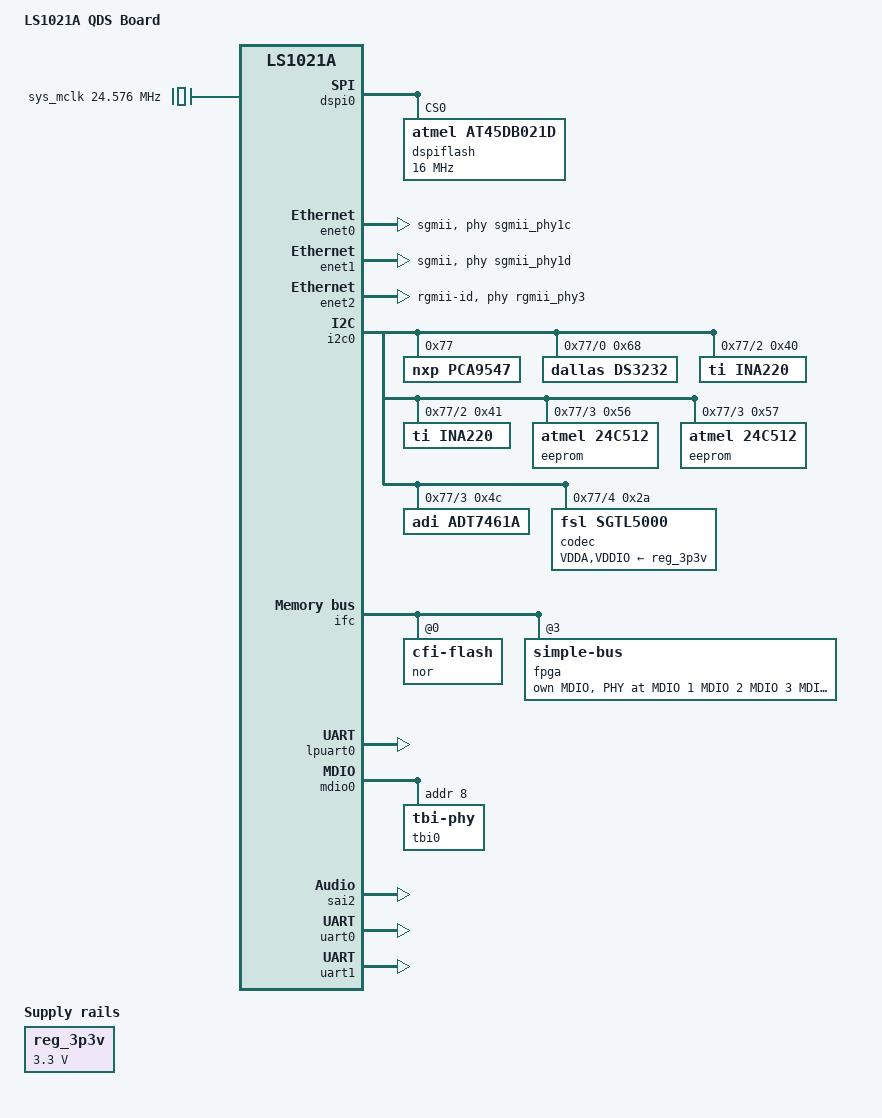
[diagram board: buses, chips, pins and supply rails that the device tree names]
/*
 * Copyright 2013-2014 Freescale Semiconductor, Inc.
 *
 * This file is dual-licensed: you can use it either under the terms
 * of the GPL or the X11 license, at your option. Note that this dual
 * licensing only applies to this file, and not this project as a
 * whole.
 *
 *  a) This file is free software; you can redistribute it and/or
 *     modify it under the terms of the GNU General Public License as
 *     published by the Free Software Foundation; either version 2 of
 *     the License, or (at your option) any later version.
 *
 *     This file is distributed in the hope that it will be useful,
 *     but WITHOUT ANY WARRANTY; without even the implied warranty of
 *     MERCHANTABILITY or FITNESS FOR A PARTICULAR PURPOSE.  See the
 *     GNU General Public License for more details.
 *
 *     You should have received a copy of the GNU General Public
 *     License along with this file; if not, write to the Free
 *     Software Foundation, Inc., 51 Franklin St, Fifth Floor, Boston,
 *     MA 02110-1301 USA
 *
 * Or, alternatively,
 *
 *  b) Permission is hereby granted, free of charge, to any person
 *     obtaining a copy of this software and associated documentation
 *     files (the "Software"), to deal in the Software without
 *     restriction, including without limitation the rights to use,
 *     copy, modify, merge, publish, distribute, sublicense, and/or
 *     sell copies of the Software, and to permit persons to whom the
 *     Software is furnished to do so, subject to the following
 *     conditions:
 *
 *     The above copyright notice and this permission notice shall be
 *     included in all copies or substantial portions of the Software.
 *
 *     THE SOFTWARE IS PROVIDED "AS IS", WITHOUT WARRANTY OF ANY KIND,
 *     EXPRESS OR IMPLIED, INCLUDING BUT NOT LIMITED TO THE WARRANTIES
 *     OF MERCHANTABILITY, FITNESS FOR A PARTICULAR PURPOSE AND
 *     NONINFRINGEMENT. IN NO EVENT SHALL THE AUTHORS OR COPYRIGHT
 *     HOLDERS BE LIABLE FOR ANY CLAIM, DAMAGES OR OTHER LIABILITY,
 *     WHETHER IN AN ACTION OF CONTRACT, TORT OR OTHERWISE, ARISING
 *     FROM, OUT OF OR IN CONNECTION WITH THE SOFTWARE OR THE USE OR
 *     OTHER DEALINGS IN THE SOFTWARE.
 */

/dts-v1/;
#include "ls1021a.dtsi"

/ {
	model = "LS1021A QDS Board";

	aliases {
		enet0_rgmii_phy = &rgmii_phy1;
		enet1_rgmii_phy = &rgmii_phy2;
		enet2_rgmii_phy = &rgmii_phy3;
		enet0_sgmii_phy = &sgmii_phy1c;
		enet1_sgmii_phy = &sgmii_phy1d;
	};

	sys_mclk: clock-mclk {
		compatible = "fixed-clock";
		#clock-cells = <0>;
		clock-frequency = <24576000>;
	};

	regulators {
		compatible = "simple-bus";
		#address-cells = <1>;
		#size-cells = <0>;

		reg_3p3v: regulator@0 {
			compatible = "regulator-fixed";
			reg = <0>;
			regulator-name = "3P3V";
			regulator-min-microvolt = <3300000>;
			regulator-max-microvolt = <3300000>;
			regulator-always-on;
		};
	};

	sound {
		compatible = "simple-audio-card";
		simple-audio-card,format = "i2s";
		simple-audio-card,widgets =
			"Microphone", "Microphone Jack",
			"Headphone", "Headphone Jack",
			"Speaker", "Speaker Ext",
			"Line", "Line In Jack";
		simple-audio-card,routing =
			"MIC_IN", "Microphone Jack",
			"Microphone Jack", "Mic Bias",
			"LINE_IN", "Line In Jack",
			"Headphone Jack", "HP_OUT",
			"Speaker Ext", "LINE_OUT";

		simple-audio-card,cpu {
			sound-dai = <&sai2>;
			frame-master;
			bitclock-master;
		};

		simple-audio-card,codec {
			sound-dai = <&codec>;
			frame-master;
			bitclock-master;
		};
	};
};

&dspi0 {
	bus-num = <0>;
	status = "okay";

	dspiflash: at45db021d@0 {
		#address-cells = <1>;
		#size-cells = <1>;
		compatible = "atmel,at45db021d", "atmel,at45", "atmel,dataflash";
		spi-max-frequency = <16000000>;
		spi-cpol;
		spi-cpha;
		reg = <0>;
	};
};

&enet0 {
	tbi-handle = <&tbi0>;
	phy-handle = <&sgmii_phy1c>;
	phy-connection-type = "sgmii";
	status = "okay";
};

&enet1 {
	tbi-handle = <&tbi0>;
	phy-handle = <&sgmii_phy1d>;
	phy-connection-type = "sgmii";
	status = "okay";
};

&enet2 {
	phy-handle = <&rgmii_phy3>;
	phy-connection-type = "rgmii-id";
	status = "okay";
};

&i2c0 {
	status = "okay";

	pca9547: mux@77 {
		compatible = "nxp,pca9547";
		reg = <0x77>;
		#address-cells = <1>;
		#size-cells = <0>;

		i2c@0 {
			#address-cells = <1>;
			#size-cells = <0>;
			reg = <0x0>;

			ds3232: rtc@68 {
				compatible = "dallas,ds3232";
				reg = <0x68>;
				interrupts = <GIC_SPI 169 IRQ_TYPE_LEVEL_HIGH>;
			};
		};

		i2c@2 {
			#address-cells = <1>;
			#size-cells = <0>;
			reg = <0x2>;

			ina220@40 {
				compatible = "ti,ina220";
				reg = <0x40>;
				shunt-resistor = <1000>;
			};

			ina220@41 {
				compatible = "ti,ina220";
				reg = <0x41>;
				shunt-resistor = <1000>;
			};
		};

		i2c@3 {
			#address-cells = <1>;
			#size-cells = <0>;
			reg = <0x3>;

			eeprom@56 {
				compatible = "atmel,24c512";
				reg = <0x56>;
			};

			eeprom@57 {
				compatible = "atmel,24c512";
				reg = <0x57>;
			};

			adt7461a@4c {
				compatible = "adi,adt7461a";
				reg = <0x4c>;
			};
		};

		i2c@4 {
			#address-cells = <1>;
			#size-cells = <0>;
			reg = <0x4>;

			codec: sgtl5000@2a {
				#sound-dai-cells = <0>;
				compatible = "fsl,sgtl5000";
				reg = <0x2a>;
				VDDA-supply = <&reg_3p3v>;
				VDDIO-supply = <&reg_3p3v>;
				clocks = <&sys_mclk 1>;
			};
		};
	};
};

&ifc {
	#address-cells = <2>;
	#size-cells = <1>;
	/* NOR, NAND Flashes and FPGA on board */
	ranges = <0x0 0x0 0x0 0x60000000 0x08000000
		  0x2 0x0 0x0 0x7e800000 0x00010000
		  0x3 0x0 0x0 0x7fb00000 0x00000100>;
	status = "okay";

	nor@0,0 {
		#address-cells = <1>;
		#size-cells = <1>;
		compatible = "cfi-flash";
		reg = <0x0 0x0 0x8000000>;
		bank-width = <2>;
		device-width = <1>;
	};

	fpga: board-control@3,0 {
		#address-cells = <1>;
		#size-cells = <1>;
		compatible = "simple-bus";
		reg = <0x3 0x0 0x0000100>;
		bank-width = <1>;
		device-width = <1>;
		ranges = <0 3 0 0x100>;

		mdio-mux-emi1 {
			compatible = "mdio-mux-mmioreg";
			mdio-parent-bus = <&mdio0>;
			#address-cells = <1>;
			#size-cells = <0>;
			reg = <0x54 1>; /* BRDCFG4 */
			mux-mask = <0xe0>; /* EMI1[2:0] */

			/* Onboard PHYs */
			ls1021amdio0: mdio@0 {
				reg = <0>;
				#address-cells = <1>;
				#size-cells = <0>;
				rgmii_phy1: ethernet-phy@1 {
					reg = <0x1>;
				};
			};

			ls1021amdio1: mdio@20 {
				reg = <0x20>;
				#address-cells = <1>;
				#size-cells = <0>;
				rgmii_phy2: ethernet-phy@2 {
					reg = <0x2>;
				};
			};

			ls1021amdio2: mdio@40 {
				reg = <0x40>;
				#address-cells = <1>;
				#size-cells = <0>;
				rgmii_phy3: ethernet-phy@3 {
					reg = <0x3>;
				};
			};

			ls1021amdio3: mdio@60 {
				reg = <0x60>;
				#address-cells = <1>;
				#size-cells = <0>;
				sgmii_phy1c: ethernet-phy@1c {
					reg = <0x1c>;
				};
			};

			ls1021amdio4: mdio@80 {
				reg = <0x80>;
				#address-cells = <1>;
				#size-cells = <0>;
				sgmii_phy1d: ethernet-phy@1d {
					reg = <0x1d>;
				};
			};
		};
	};
};

&lpuart0 {
	status = "okay";
};

&mdio0 {
	tbi0: tbi-phy@8 {
		reg = <0x8>;
		device_type = "tbi-phy";
	};
};

&sai2 {
	status = "okay";
};

&uart0 {
	status = "okay";
};

&uart1 {
	status = "okay";
};
